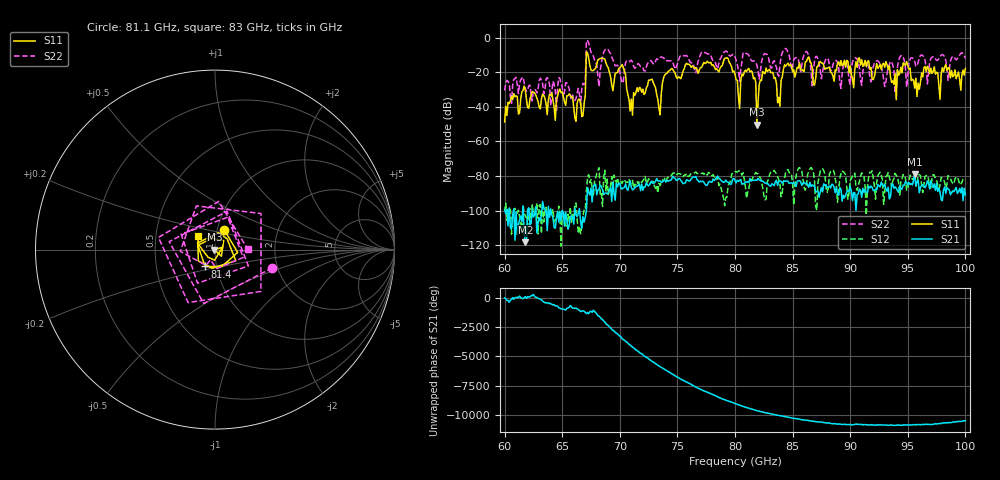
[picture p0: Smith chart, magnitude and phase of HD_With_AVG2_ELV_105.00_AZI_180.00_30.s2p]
! 11/25/2026 10:24:55 AM
! C:\ANRITSUVNA\TEMP\TEMP.S2P
! CHANNEL.1
! TR.MEASUREMENT
! RAW.DATA
# HZ S RI R 50.0
! FREQ.HZ  S11RE  S11IM  S21RE  S21IM  S12RE  S12IM  S22RE  S22IM
!; PortSelection: Port_12
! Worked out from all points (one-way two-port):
!   401 points, 60 GHz to 100 GHz, reference 50 ohm
!   highest |S21| = -78.88 dB at 95.6 GHz (marker M1); lowest = -118.3 dB at 61.8 GHz (marker M2)
!   lowest |S11| = -50.3 dB at 81.9 GHz (marker M3), VSWR 1.01, Z = 49.7 + j0.00433 ohm
!   |S11| at or under -10 dB: start of sweep to 67.09 GHz; 67.24 GHz to end of sweep
!   |S22| runs from -42.9 to -1.7 dB; largest |S21 - S12| = 0.00023
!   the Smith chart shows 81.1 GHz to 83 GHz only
!   S11 on the Smith chart (normalised r, x): 81.1 GHz: 1.08, +0.24; 81.4 GHz: 0.88, -0.17; 83 GHz: 0.82, +0.12
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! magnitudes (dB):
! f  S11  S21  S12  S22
! 60 GHz  -48.7  -99.3  -100.6  -30.5
! 61.8 GHz  -30.6  -118.3  -103.0  -29.5
! 66.7 GHz  -45.7  -110.1  -109.4  -29.5
! 67.3 GHz  -12.1  -89.4  -79.1  -3.2
! 68.4 GHz  -11.8  -86.0  -89.5  -14.7
! 68.9 GHz  -16.4  -90.2  -81.8  -6.5
! 70.3 GHz  -17.5  -86.8  -82.4  -25.5
! 70.9 GHz  -42.4  -82.7  -84.1  -13.5
! 72.7 GHz  -24.3  -83.3  -84.1  -13.3
! 73.4 GHz  -40.9  -82.7  -84.1  -12.6
! 74.4 GHz  -18.6  -82.5  -80.1  -13.4
! 80 GHz  -21.3  -82.5  -77.4  -11.0
! 81.1 GHz  -18.4  -83.2  -89.3  -9.5
! 81.4 GHz  -19.3  -82.9  -82.3  -13.0
! 81.9 GHz  -50.3  -82.5  -78.7  -15.7
! 83 GHz  -18.4  -85.6  -79.2  -14.8
! 83.8 GHz  -34.5  -83.0  -82.0  -22.4
! 84.4 GHz  -16.7  -83.0  -77.8  -6.3
! 86.7 GHz  -17.5  -85.1  -76.1  -27.9
! 93.4 GHz  -16.4  -93.2  -80.9  -15.6
! 95.6 GHz  -29.2  -78.9  -78.7  -13.8
! 100 GHz  -17.8  -90.8  -81.8  -12.1
